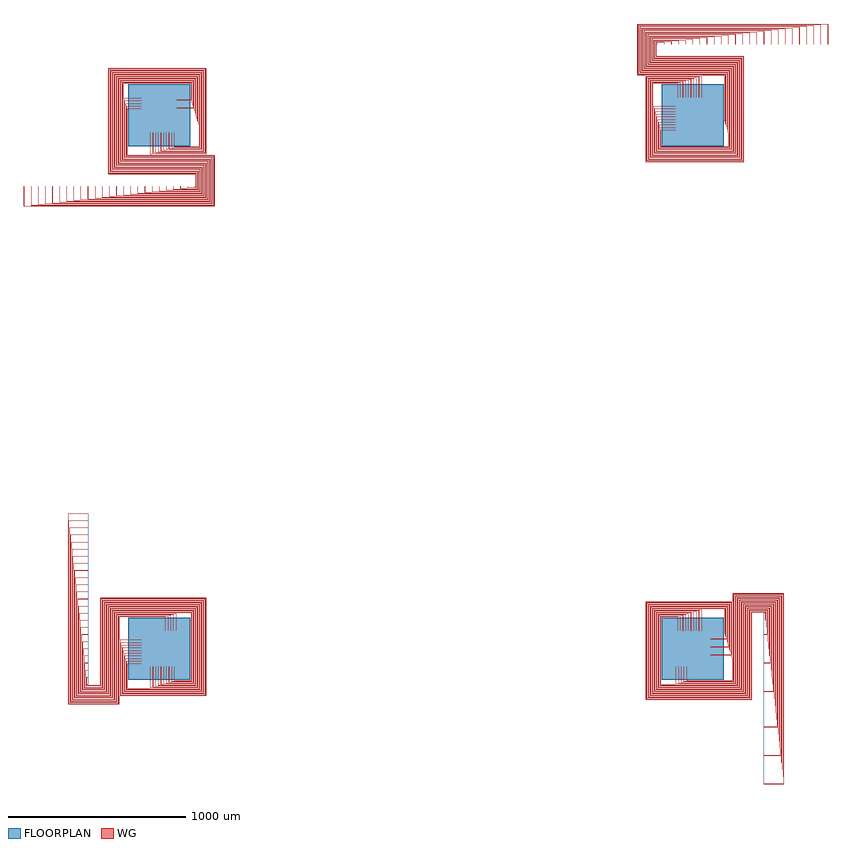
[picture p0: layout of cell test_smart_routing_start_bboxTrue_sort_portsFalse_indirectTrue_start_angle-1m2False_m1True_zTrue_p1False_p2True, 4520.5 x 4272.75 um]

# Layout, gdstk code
import gdstk
lib = gdstk.Library(unit=1e-6, precision=1e-09)
def R(c, l, rs):  # rectangles x0, y0, x1, y1
    for r in rs: c.add(gdstk.rectangle(r[:2], r[2:], *l))
def P(c, l, *ps):  # polygons
    for p in ps: c.add(gdstk.Polygon(p, *l))
WG = (1, 0)
FLOORPLAN = (10, 0)

test_smart_routing_start = lib.new_cell('test_smart_routing_start_bboxTrue_sort_portsFalse_indirectTrue_start_angle-1m2False_m1True_zTrue_p1False_p2True')
P(test_smart_routing_start, WG, [(-220,-265),(-220,50.25),(-100,50.25),(-100,49.75),(-219.5,49.75),(-219.5,-264.5),(264.5,-264.5),(264.5,287),(-332,287),(-332,-204.75),(-404.5,-204.75),(-404.5,-199.75),(-400,-199.75),(-400,-200.25),(-404,-200.25),(-404,-204.25),(-332.5,-204.25),(-332.5,287.5),(265,287.5),(265,-265)],
  [(-215.5,-260.5),(-215.5,35.25),(-100,35.25),(-100,34.75),(-215,34.75),(-215,-260),(260,-260),(260,282.5),(-327.5,282.5),(-327.5,-209.25),(-409,-209.25),(-409,-159.75),(-400,-159.75),(-400,-160.25),(-408.5,-160.25),(-408.5,-208.75),(-328,-208.75),(-328,283),(260.5,283),(260.5,-260.5)],
  [(-211,-256),(-211,20.25),(-100,20.25),(-100,19.75),(-210.5,19.75),(-210.5,-255.5),(255.5,-255.5),(255.5,278),(-323,278),(-323,-213.75),(-413.5,-213.75),(-413.5,-119.75),(-400,-119.75),(-400,-120.25),(-413,-120.25),(-413,-213.25),(-323.5,-213.25),(-323.5,278.5),(256,278.5),(256,-256)],
  [(-206.5,-251.5),(-206.5,5.25),(-100,5.25),(-100,4.75),(-206,4.75),(-206,-251),(251,-251),(251,273.5),(-318.5,273.5),(-318.5,-218.25),(-418,-218.25),(-418,-79.75),(-400,-79.75),(-400,-80.25),(-417.5,-80.25),(-417.5,-217.75),(-319,-217.75),(-319,274),(251.5,274),(251.5,-251.5)],
  [(-202,-247),(-202,-9.75),(-100,-9.75),(-100,-10.25),(-201.5,-10.25),(-201.5,-246.5),(246.5,-246.5),(246.5,269),(-314,269),(-314,-222.75),(-422.5,-222.75),(-422.5,-39.75),(-400,-39.75),(-400,-40.25),(-422,-40.25),(-422,-222.25),(-314.5,-222.25),(-314.5,269.5),(247,269.5),(247,-247)],
  [(-197.5,-242.5),(-197.5,-24.75),(-100,-24.75),(-100,-25.25),(-197,-25.25),(-197,-242),(242,-242),(242,264.5),(-309.5,264.5),(-309.5,-227.25),(-427,-227.25),(-427,0.25),(-400,0.25),(-400,-0.25),(-426.5,-0.25),(-426.5,-226.75),(-310,-226.75),(-310,265),(242.5,265),(242.5,-242.5)],
  [(-193,-238),(-193,-39.75),(-100,-39.75),(-100,-40.25),(-192.5,-40.25),(-192.5,-237.5),(237.5,-237.5),(237.5,260),(-305,260),(-305,-231.75),(-431.5,-231.75),(-431.5,40.25),(-400,40.25),(-400,39.75),(-431,39.75),(-431,-231.25),(-305.5,-231.25),(-305.5,260.5),(238,260.5),(238,-238)],
  [(-436,-236.25),(-436,80.25),(-400,80.25),(-400,79.75),(-435.5,79.75),(-435.5,-235.75),(-301,-235.75),(-301,256),(233.5,256),(233.5,-233.5),(-188.5,-233.5),(-188.5,-54.75),(-100,-54.75),(-100,-55.25),(-188,-55.25),(-188,-233),(233,-233),(233,255.5),(-300.5,255.5),(-300.5,-236.25)],
  [(-440.5,-240.75),(-440.5,120.25),(-400,120.25),(-400,119.75),(-440,119.75),(-440,-240.25),(-296.5,-240.25),(-296.5,251.5),(229,251.5),(229,-229),(-184,-229),(-184,-69.75),(-100,-69.75),(-100,-70.25),(-183.5,-70.25),(-183.5,-228.5),(228.5,-228.5),(228.5,251),(-296,251),(-296,-240.75)],
  [(-445,-245.25),(-445,160.25),(-400,160.25),(-400,159.75),(-444.5,159.75),(-444.5,-244.75),(-292,-244.75),(-292,247),(224.5,247),(224.5,-224.5),(-179.5,-224.5),(-179.5,-84.75),(-100,-84.75),(-100,-85.25),(-179,-85.25),(-179,-224),(224,-224),(224,246.5),(-291.5,246.5),(-291.5,-245.25)],
  [(-449.5,-249.75),(-449.5,200.25),(-400,200.25),(-400,199.75),(-449,199.75),(-449,-249.25),(-287.5,-249.25),(-287.5,242.5),(220,242.5),(220,-220),(-50.25,-220),(-50.25,-100),(-49.75,-100),(-49.75,-219.5),(219.5,-219.5),(219.5,242),(-287,242),(-287,-249.75)],
  [(-454,-254.25),(-454,240.25),(-400,240.25),(-400,239.75),(-453.5,239.75),(-453.5,-253.75),(-283,-253.75),(-283,238),(215.5,238),(215.5,-215.5),(-35.25,-215.5),(-35.25,-100),(-34.75,-100),(-34.75,-215),(215,-215),(215,237.5),(-282.5,237.5),(-282.5,-254.25)],
  [(-458.5,-258.75),(-458.5,280.25),(-400,280.25),(-400,279.75),(-458,279.75),(-458,-258.25),(-278.5,-258.25),(-278.5,233.5),(211,233.5),(211,-211),(-20.25,-211),(-20.25,-100),(-19.75,-100),(-19.75,-210.5),(210.5,-210.5),(210.5,233),(-278,233),(-278,-258.75)],
  [(-463,-263.25),(-463,320.25),(-400,320.25),(-400,319.75),(-462.5,319.75),(-462.5,-262.75),(-274,-262.75),(-274,229),(206.5,229),(206.5,-206.5),(-5.25,-206.5),(-5.25,-100),(-4.75,-100),(-4.75,-206),(206,-206),(206,228.5),(-273.5,228.5),(-273.5,-263.25)],
  [(-467.5,-267.75),(-467.5,360.25),(-400,360.25),(-400,359.75),(-467,359.75),(-467,-267.25),(-269.5,-267.25),(-269.5,224.5),(202,224.5),(202,-202),(9.75,-202),(9.75,-100),(10.25,-100),(10.25,-201.5),(201.5,-201.5),(201.5,224),(-269,224),(-269,-267.75)],
  [(-472,-272.25),(-472,400.25),(-400,400.25),(-400,399.75),(-471.5,399.75),(-471.5,-271.75),(-265,-271.75),(-265,220),(197.5,220),(197.5,-197.5),(24.75,-197.5),(24.75,-100),(25.25,-100),(25.25,-197),(197,-197),(197,219.5),(-264.5,219.5),(-264.5,-272.25)],
  [(-476.5,-276.75),(-476.5,440.25),(-400,440.25),(-400,439.75),(-476,439.75),(-476,-276.25),(-260.5,-276.25),(-260.5,215.5),(193,215.5),(193,-193),(39.75,-193),(39.75,-100),(40.25,-100),(40.25,-192.5),(192.5,-192.5),(192.5,215),(-260,215),(-260,-276.75)],
  [(-481,-281.25),(-481,480.25),(-400,480.25),(-400,479.75),(-480.5,479.75),(-480.5,-280.75),(-256,-280.75),(-256,211),(188.5,211),(188.5,-188.5),(54.75,-188.5),(54.75,-100),(55.25,-100),(55.25,-188),(188,-188),(188,210.5),(-255.5,210.5),(-255.5,-281.25)],
  [(-485.5,-285.75),(-485.5,520.25),(-400,520.25),(-400,519.75),(-485,519.75),(-485,-285.25),(-251.5,-285.25),(-251.5,206.5),(184,206.5),(184,-184),(69.75,-184),(69.75,-100),(70.25,-100),(70.25,-183.5),(183.5,-183.5),(183.5,206),(-251,206),(-251,-285.75)],
  [(-490,-290.25),(-490,560.25),(-400,560.25),(-400,559.75),(-489.5,559.75),(-489.5,-289.75),(-247,-289.75),(-247,202),(179.5,202),(179.5,-179.5),(84.75,-179.5),(84.75,-100),(85.25,-100),(85.25,-179),(179,-179),(179,201.5),(-246.5,201.5),(-246.5,-290.25)],
  [(-512.5,-312.75),(-512.5,760.25),(-400,760.25),(-400,759.75),(-512,759.75),(-512,-312.25),(-224.5,-312.25),(-224.5,179.5),(35.25,179.5),(35.25,100),(34.75,100),(34.75,179),(-224,179),(-224,-312.75)],
  [(-508,-308.25),(-508,720.25),(-400,720.25),(-400,719.75),(-507.5,719.75),(-507.5,-307.75),(-229,-307.75),(-229,184),(50.25,184),(50.25,100),(49.75,100),(49.75,183.5),(-228.5,183.5),(-228.5,-308.25)],
  [(-503.5,-303.75),(-503.5,680.25),(-400,680.25),(-400,679.75),(-503,679.75),(-503,-303.25),(-233.5,-303.25),(-233.5,188.5),(65.25,188.5),(65.25,100),(64.75,100),(64.75,188),(-233,188),(-233,-303.75)],
  [(-499,-299.25),(-499,640.25),(-400,640.25),(-400,639.75),(-498.5,639.75),(-498.5,-298.75),(-238,-298.75),(-238,193),(80.25,193),(80.25,100),(79.75,100),(79.75,192.5),(-237.5,192.5),(-237.5,-299.25)],
  [(-494.5,-294.75),(-494.5,600.25),(-400,600.25),(-400,599.75),(-494,599.75),(-494,-294.25),(-242.5,-294.25),(-242.5,197.5),(95.25,197.5),(95.25,100),(94.75,100),(94.75,197),(-242,197),(-242,-294.75)],
  [(199.75,2595.5),(199.75,2600),(200.25,2600),(200.25,2596),(204.25,2596),(204.25,2667.5),(-287.5,2667.5),(-287.5,3265),(265,3265),(265,2780),(-50.25,2780),(-50.25,2900),(-49.75,2900),(-49.75,2780.5),(264.5,2780.5),(264.5,3264.5),(-287,3264.5),(-287,2668),(204.75,2668),(204.75,2595.5)],
  [(159.75,2591),(159.75,2600),(160.25,2600),(160.25,2591.5),(208.75,2591.5),(208.75,2672),(-283,2672),(-283,3260.5),(260.5,3260.5),(260.5,2784.5),(-35.25,2784.5),(-35.25,2900),(-34.75,2900),(-34.75,2785),(260,2785),(260,3260),(-282.5,3260),(-282.5,2672.5),(209.25,2672.5),(209.25,2591)],
  [(119.75,2586.5),(119.75,2600),(120.25,2600),(120.25,2587),(213.25,2587),(213.25,2676.5),(-278.5,2676.5),(-278.5,3256),(256,3256),(256,2789),(-20.25,2789),(-20.25,2900),(-19.75,2900),(-19.75,2789.5),(255.5,2789.5),(255.5,3255.5),(-278,3255.5),(-278,2677),(213.75,2677),(213.75,2586.5)],
  [(79.75,2582),(79.75,2600),(80.25,2600),(80.25,2582.5),(217.75,2582.5),(217.75,2681),(-274,2681),(-274,3251.5),(251.5,3251.5),(251.5,2793.5),(-5.25,2793.5),(-5.25,2900),(-4.75,2900),(-4.75,2794),(251,2794),(251,3251),(-273.5,3251),(-273.5,2681.5),(218.25,2681.5),(218.25,2582)],
  [(39.75,2577.5),(39.75,2600),(40.25,2600),(40.25,2578),(222.25,2578),(222.25,2685.5),(-269.5,2685.5),(-269.5,3247),(247,3247),(247,2798),(9.75,2798),(9.75,2900),(10.25,2900),(10.25,2798.5),(246.5,2798.5),(246.5,3246.5),(-269,3246.5),(-269,2686),(222.75,2686),(222.75,2577.5)],
  [(-0.25,2573),(-0.25,2600),(0.25,2600),(0.25,2573.5),(226.75,2573.5),(226.75,2690),(-265,2690),(-265,3242.5),(242.5,3242.5),(242.5,2802.5),(24.75,2802.5),(24.75,2900),(25.25,2900),(25.25,2803),(242,2803),(242,3242),(-264.5,3242),(-264.5,2690.5),(227.25,2690.5),(227.25,2573)],
  [(-40.25,2568.5),(-40.25,2600),(-39.75,2600),(-39.75,2569),(231.25,2569),(231.25,2694.5),(-260.5,2694.5),(-260.5,3238),(238,3238),(238,2807),(39.75,2807),(39.75,2900),(40.25,2900),(40.25,2807.5),(237.5,2807.5),(237.5,3237.5),(-260,3237.5),(-260,2695),(231.75,2695),(231.75,2568.5)],
  [(-80.25,2564),(-80.25,2600),(-79.75,2600),(-79.75,2564.5),(235.75,2564.5),(235.75,2699),(-256,2699),(-256,3233.5),(233.5,3233.5),(233.5,2811.5),(54.75,2811.5),(54.75,2900),(55.25,2900),(55.25,2812),(233,2812),(233,3233),(-255.5,3233),(-255.5,2699.5),(236.25,2699.5),(236.25,2564)],
  [(-120.25,2559.5),(-120.25,2600),(-119.75,2600),(-119.75,2560),(240.25,2560),(240.25,2703.5),(-251.5,2703.5),(-251.5,3229),(229,3229),(229,2816),(69.75,2816),(69.75,2900),(70.25,2900),(70.25,2816.5),(228.5,2816.5),(228.5,3228.5),(-251,3228.5),(-251,2704),(240.75,2704),(240.75,2559.5)],
  [(-160.25,2555),(-160.25,2600),(-159.75,2600),(-159.75,2555.5),(244.75,2555.5),(244.75,2708),(-247,2708),(-247,3224.5),(224.5,3224.5),(224.5,2820.5),(84.75,2820.5),(84.75,2900),(85.25,2900),(85.25,2821),(224,2821),(224,3224),(-246.5,3224),(-246.5,2708.5),(245.25,2708.5),(245.25,2555)],
  [(-200.25,2550.5),(-200.25,2600),(-199.75,2600),(-199.75,2551),(249.25,2551),(249.25,2712.5),(-242.5,2712.5),(-242.5,3220),(220,3220),(220,2949.75),(100,2949.75),(100,2950.25),(219.5,2950.25),(219.5,3219.5),(-242,3219.5),(-242,2713),(249.75,2713),(249.75,2550.5)],
  [(-240.25,2546),(-240.25,2600),(-239.75,2600),(-239.75,2546.5),(253.75,2546.5),(253.75,2717),(-238,2717),(-238,3215.5),(215.5,3215.5),(215.5,2964.75),(100,2964.75),(100,2965.25),(215,2965.25),(215,3215),(-237.5,3215),(-237.5,2717.5),(254.25,2717.5),(254.25,2546)],
  [(-280.25,2541.5),(-280.25,2600),(-279.75,2600),(-279.75,2542),(258.25,2542),(258.25,2721.5),(-233.5,2721.5),(-233.5,3211),(211,3211),(211,2979.75),(100,2979.75),(100,2980.25),(210.5,2980.25),(210.5,3210.5),(-233,3210.5),(-233,2722),(258.75,2722),(258.75,2541.5)],
  [(-320.25,2537),(-320.25,2600),(-319.75,2600),(-319.75,2537.5),(262.75,2537.5),(262.75,2726),(-229,2726),(-229,3206.5),(206.5,3206.5),(206.5,2994.75),(100,2994.75),(100,2995.25),(206,2995.25),(206,3206),(-228.5,3206),(-228.5,2726.5),(263.25,2726.5),(263.25,2537)],
  [(-360.25,2532.5),(-360.25,2600),(-359.75,2600),(-359.75,2533),(267.25,2533),(267.25,2730.5),(-224.5,2730.5),(-224.5,3202),(202,3202),(202,3009.75),(100,3009.75),(100,3010.25),(201.5,3010.25),(201.5,3201.5),(-224,3201.5),(-224,2731),(267.75,2731),(267.75,2532.5)],
  [(-400.25,2528),(-400.25,2600),(-399.75,2600),(-399.75,2528.5),(271.75,2528.5),(271.75,2735),(-220,2735),(-220,3197.5),(197.5,3197.5),(197.5,3024.75),(100,3024.75),(100,3025.25),(197,3025.25),(197,3197),(-219.5,3197),(-219.5,2735.5),(272.25,2735.5),(272.25,2528)],
  [(-440.25,2523.5),(-440.25,2600),(-439.75,2600),(-439.75,2524),(276.25,2524),(276.25,2739.5),(-215.5,2739.5),(-215.5,3193),(193,3193),(193,3039.75),(100,3039.75),(100,3040.25),(192.5,3040.25),(192.5,3192.5),(-215,3192.5),(-215,2740),(276.75,2740),(276.75,2523.5)],
  [(-480.25,2519),(-480.25,2600),(-479.75,2600),(-479.75,2519.5),(280.75,2519.5),(280.75,2744),(-211,2744),(-211,3188.5),(188.5,3188.5),(188.5,3054.75),(100,3054.75),(100,3055.25),(188,3055.25),(188,3188),(-210.5,3188),(-210.5,2744.5),(281.25,2744.5),(281.25,2519)],
  [(-520.25,2514.5),(-520.25,2600),(-519.75,2600),(-519.75,2515),(285.25,2515),(285.25,2748.5),(-206.5,2748.5),(-206.5,3184),(184,3184),(184,3069.75),(100,3069.75),(100,3070.25),(183.5,3070.25),(183.5,3183.5),(-206,3183.5),(-206,2749),(285.75,2749),(285.75,2514.5)],
  [(-560.25,2510),(-560.25,2600),(-559.75,2600),(-559.75,2510.5),(289.75,2510.5),(289.75,2753),(-202,2753),(-202,3179.5),(179.5,3179.5),(179.5,3084.75),(100,3084.75),(100,3085.25),(179,3085.25),(179,3179),(-201.5,3179),(-201.5,2753.5),(290.25,2753.5),(290.25,2510)],
  [(-760.25,2487.5),(-760.25,2600),(-759.75,2600),(-759.75,2488),(312.25,2488),(312.25,2775.5),(-179.5,2775.5),(-179.5,3035.25),(-100,3035.25),(-100,3034.75),(-179,3034.75),(-179,2776),(312.75,2776),(312.75,2487.5)],
  [(-720.25,2492),(-720.25,2600),(-719.75,2600),(-719.75,2492.5),(307.75,2492.5),(307.75,2771),(-184,2771),(-184,3050.25),(-100,3050.25),(-100,3049.75),(-183.5,3049.75),(-183.5,2771.5),(308.25,2771.5),(308.25,2492)],
  [(-680.25,2496.5),(-680.25,2600),(-679.75,2600),(-679.75,2497),(303.25,2497),(303.25,2766.5),(-188.5,2766.5),(-188.5,3065.25),(-100,3065.25),(-100,3064.75),(-188,3064.75),(-188,2767),(303.75,2767),(303.75,2496.5)],
  [(-640.25,2501),(-640.25,2600),(-639.75,2600),(-639.75,2501.5),(298.75,2501.5),(298.75,2762),(-193,2762),(-193,3080.25),(-100,3080.25),(-100,3079.75),(-192.5,3079.75),(-192.5,2762.5),(299.25,2762.5),(299.25,2501)],
  [(-600.25,2505.5),(-600.25,2600),(-599.75,2600),(-599.75,2506),(294.25,2506),(294.25,2757.5),(-197.5,2757.5),(-197.5,3095.25),(-100,3095.25),(-100,3094.75),(-197,3094.75),(-197,2758),(294.75,2758),(294.75,2505.5)],
  [(2735,-287.5),(2735,265),(3220,265),(3220,-50.25),(3100,-50.25),(3100,-49.75),(3219.5,-49.75),(3219.5,264.5),(2735.5,264.5),(2735.5,-287),(3332,-287),(3332,204.75),(3404.5,204.75),(3404.5,199.75),(3400,199.75),(3400,200.25),(3404,200.25),(3404,204.25),(3332.5,204.25),(3332.5,-287.5)],
  [(2739.5,-283),(2739.5,260.5),(3215.5,260.5),(3215.5,-35.25),(3100,-35.25),(3100,-34.75),(3215,-34.75),(3215,260),(2740,260),(2740,-282.5),(3327.5,-282.5),(3327.5,209.25),(3409,209.25),(3409,159.75),(3400,159.75),(3400,160.25),(3408.5,160.25),(3408.5,208.75),(3328,208.75),(3328,-283)],
  [(2744,-278.5),(2744,256),(3211,256),(3211,-20.25),(3100,-20.25),(3100,-19.75),(3210.5,-19.75),(3210.5,255.5),(2744.5,255.5),(2744.5,-278),(3323,-278),(3323,213.75),(3413.5,213.75),(3413.5,119.75),(3400,119.75),(3400,120.25),(3413,120.25),(3413,213.25),(3323.5,213.25),(3323.5,-278.5)],
  [(2748.5,-274),(2748.5,251.5),(3206.5,251.5),(3206.5,-5.25),(3100,-5.25),(3100,-4.75),(3206,-4.75),(3206,251),(2749,251),(2749,-273.5),(3318.5,-273.5),(3318.5,218.25),(3418,218.25),(3418,79.75),(3400,79.75),(3400,80.25),(3417.5,80.25),(3417.5,217.75),(3319,217.75),(3319,-274)],
  [(2753,-269.5),(2753,247),(3202,247),(3202,9.75),(3100,9.75),(3100,10.25),(3201.5,10.25),(3201.5,246.5),(2753.5,246.5),(2753.5,-269),(3314,-269),(3314,222.75),(3422.5,222.75),(3422.5,39.75),(3400,39.75),(3400,40.25),(3422,40.25),(3422,222.25),(3314.5,222.25),(3314.5,-269.5)],
  [(2757.5,-265),(2757.5,242.5),(3197.5,242.5),(3197.5,24.75),(3100,24.75),(3100,25.25),(3197,25.25),(3197,242),(2758,242),(2758,-264.5),(3309.5,-264.5),(3309.5,227.25),(3427,227.25),(3427,-0.25),(3400,-0.25),(3400,0.25),(3426.5,0.25),(3426.5,226.75),(3310,226.75),(3310,-265)],
  [(2762,-260.5),(2762,238),(3193,238),(3193,39.75),(3100,39.75),(3100,40.25),(3192.5,40.25),(3192.5,237.5),(2762.5,237.5),(2762.5,-260),(3305,-260),(3305,231.75),(3431.5,231.75),(3431.5,-40.25),(3400,-40.25),(3400,-39.75),(3431,-39.75),(3431,231.25),(3305.5,231.25),(3305.5,-260.5)],
  [(2766.5,-256),(2766.5,233.5),(3188.5,233.5),(3188.5,54.75),(3100,54.75),(3100,55.25),(3188,55.25),(3188,233),(2767,233),(2767,-255.5),(3300.5,-255.5),(3300.5,236.25),(3436,236.25),(3436,-80.25),(3400,-80.25),(3400,-79.75),(3435.5,-79.75),(3435.5,235.75),(3301,235.75),(3301,-256)],
  [(2771,-251.5),(2771,229),(3184,229),(3184,69.75),(3100,69.75),(3100,70.25),(3183.5,70.25),(3183.5,228.5),(2771.5,228.5),(2771.5,-251),(3296,-251),(3296,240.75),(3440.5,240.75),(3440.5,-120.25),(3400,-120.25),(3400,-119.75),(3440,-119.75),(3440,240.25),(3296.5,240.25),(3296.5,-251.5)],
  [(2775.5,-247),(2775.5,224.5),(3179.5,224.5),(3179.5,84.75),(3100,84.75),(3100,85.25),(3179,85.25),(3179,224),(2776,224),(2776,-246.5),(3291.5,-246.5),(3291.5,245.25),(3445,245.25),(3445,-160.25),(3400,-160.25),(3400,-159.75),(3444.5,-159.75),(3444.5,244.75),(3292,244.75),(3292,-247)],
  [(2780,-242.5),(2780,220),(3050.25,220),(3050.25,100),(3049.75,100),(3049.75,219.5),(2780.5,219.5),(2780.5,-242),(3287,-242),(3287,249.75),(3449.5,249.75),(3449.5,-200.25),(3400,-200.25),(3400,-199.75),(3449,-199.75),(3449,249.25),(3287.5,249.25),(3287.5,-242.5)],
  [(3400,-240.25),(3400,-239.75),(3453.5,-239.75),(3453.5,253.75),(3283,253.75),(3283,-238),(2784.5,-238),(2784.5,215.5),(3035.25,215.5),(3035.25,100),(3034.75,100),(3034.75,215),(2785,215),(2785,-237.5),(3282.5,-237.5),(3282.5,254.25),(3454,254.25),(3454,-240.25)],
  [(3400,-280.25),(3400,-279.75),(3458,-279.75),(3458,258.25),(3278.5,258.25),(3278.5,-233.5),(2789,-233.5),(2789,211),(3020.25,211),(3020.25,100),(3019.75,100),(3019.75,210.5),(2789.5,210.5),(2789.5,-233),(3278,-233),(3278,258.75),(3458.5,258.75),(3458.5,-280.25)],
  [(3400,-320.25),(3400,-319.75),(3462.5,-319.75),(3462.5,262.75),(3274,262.75),(3274,-229),(2793.5,-229),(2793.5,206.5),(3005.25,206.5),(3005.25,100),(3004.75,100),(3004.75,206),(2794,206),(2794,-228.5),(3273.5,-228.5),(3273.5,263.25),(3463,263.25),(3463,-320.25)],
  [(3400,-360.25),(3400,-359.75),(3467,-359.75),(3467,267.25),(3269.5,267.25),(3269.5,-224.5),(2798,-224.5),(2798,202),(2990.25,202),(2990.25,100),(2989.75,100),(2989.75,201.5),(2798.5,201.5),(2798.5,-224),(3269,-224),(3269,267.75),(3467.5,267.75),(3467.5,-360.25)],
  [(3400,-400.25),(3400,-399.75),(3471.5,-399.75),(3471.5,271.75),(3265,271.75),(3265,-220),(2802.5,-220),(2802.5,197.5),(2975.25,197.5),(2975.25,100),(2974.75,100),(2974.75,197),(2803,197),(2803,-219.5),(3264.5,-219.5),(3264.5,272.25),(3472,272.25),(3472,-400.25)],
  [(3400,-440.25),(3400,-439.75),(3476,-439.75),(3476,276.25),(3260.5,276.25),(3260.5,-215.5),(2807,-215.5),(2807,193),(2960.25,193),(2960.25,100),(2959.75,100),(2959.75,192.5),(2807.5,192.5),(2807.5,-215),(3260,-215),(3260,276.75),(3476.5,276.75),(3476.5,-440.25)],
  [(3400,-480.25),(3400,-479.75),(3480.5,-479.75),(3480.5,280.75),(3256,280.75),(3256,-211),(2811.5,-211),(2811.5,188.5),(2945.25,188.5),(2945.25,100),(2944.75,100),(2944.75,188),(2812,188),(2812,-210.5),(3255.5,-210.5),(3255.5,281.25),(3481,281.25),(3481,-480.25)],
  [(3400,-520.25),(3400,-519.75),(3485,-519.75),(3485,285.25),(3251.5,285.25),(3251.5,-206.5),(2816,-206.5),(2816,184),(2930.25,184),(2930.25,100),(2929.75,100),(2929.75,183.5),(2816.5,183.5),(2816.5,-206),(3251,-206),(3251,285.75),(3485.5,285.75),(3485.5,-520.25)],
  [(3400,-560.25),(3400,-559.75),(3489.5,-559.75),(3489.5,289.75),(3247,289.75),(3247,-202),(2820.5,-202),(2820.5,179.5),(2915.25,179.5),(2915.25,100),(2914.75,100),(2914.75,179),(2821,179),(2821,-201.5),(3246.5,-201.5),(3246.5,290.25),(3490,290.25),(3490,-560.25)],
  [(3400,-760.25),(3400,-759.75),(3512,-759.75),(3512,312.25),(3224.5,312.25),(3224.5,-179.5),(2964.75,-179.5),(2964.75,-100),(2965.25,-100),(2965.25,-179),(3224,-179),(3224,312.75),(3512.5,312.75),(3512.5,-760.25)],
  [(3400,-720.25),(3400,-719.75),(3507.5,-719.75),(3507.5,307.75),(3229,307.75),(3229,-184),(2949.75,-184),(2949.75,-100),(2950.25,-100),(2950.25,-183.5),(3228.5,-183.5),(3228.5,308.25),(3508,308.25),(3508,-720.25)],
  [(3400,-680.25),(3400,-679.75),(3503,-679.75),(3503,303.25),(3233.5,303.25),(3233.5,-188.5),(2934.75,-188.5),(2934.75,-100),(2935.25,-100),(2935.25,-188),(3233,-188),(3233,303.75),(3503.5,303.75),(3503.5,-680.25)],
  [(3400,-640.25),(3400,-639.75),(3498.5,-639.75),(3498.5,298.75),(3238,298.75),(3238,-193),(2919.75,-193),(2919.75,-100),(2920.25,-100),(2920.25,-192.5),(3237.5,-192.5),(3237.5,299.25),(3499,299.25),(3499,-640.25)],
  [(3400,-600.25),(3400,-599.75),(3494,-599.75),(3494,294.25),(3242.5,294.25),(3242.5,-197.5),(2904.75,-197.5),(2904.75,-100),(2905.25,-100),(2905.25,-197),(3242,-197),(3242,294.75),(3494.5,294.75),(3494.5,-600.25)],
  [(2735,2735),(2735,3220),(3050.25,3220),(3050.25,3100),(3049.75,3100),(3049.75,3219.5),(2735.5,3219.5),(2735.5,2735.5),(3287,2735.5),(3287,3332),(2795.25,3332),(2795.25,3404.5),(2800.25,3404.5),(2800.25,3400),(2799.75,3400),(2799.75,3404),(2795.75,3404),(2795.75,3332.5),(3287.5,3332.5),(3287.5,2735)],
  [(2739.5,2739.5),(2739.5,3215.5),(3035.25,3215.5),(3035.25,3100),(3034.75,3100),(3034.75,3215),(2740,3215),(2740,2740),(3282.5,2740),(3282.5,3327.5),(2790.75,3327.5),(2790.75,3409),(2840.25,3409),(2840.25,3400),(2839.75,3400),(2839.75,3408.5),(2791.25,3408.5),(2791.25,3328),(3283,3328),(3283,2739.5)],
  [(2744,2744),(2744,3211),(3020.25,3211),(3020.25,3100),(3019.75,3100),(3019.75,3210.5),(2744.5,3210.5),(2744.5,2744.5),(3278,2744.5),(3278,3323),(2786.25,3323),(2786.25,3413.5),(2880.25,3413.5),(2880.25,3400),(2879.75,3400),(2879.75,3413),(2786.75,3413),(2786.75,3323.5),(3278.5,3323.5),(3278.5,2744)],
  [(2748.5,2748.5),(2748.5,3206.5),(3005.25,3206.5),(3005.25,3100),(3004.75,3100),(3004.75,3206),(2749,3206),(2749,2749),(3273.5,2749),(3273.5,3318.5),(2781.75,3318.5),(2781.75,3418),(2920.25,3418),(2920.25,3400),(2919.75,3400),(2919.75,3417.5),(2782.25,3417.5),(2782.25,3319),(3274,3319),(3274,2748.5)],
  [(2753,2753),(2753,3202),(2990.25,3202),(2990.25,3100),(2989.75,3100),(2989.75,3201.5),(2753.5,3201.5),(2753.5,2753.5),(3269,2753.5),(3269,3314),(2777.25,3314),(2777.25,3422.5),(2960.25,3422.5),(2960.25,3400),(2959.75,3400),(2959.75,3422),(2777.75,3422),(2777.75,3314.5),(3269.5,3314.5),(3269.5,2753)],
  [(2757.5,2757.5),(2757.5,3197.5),(2975.25,3197.5),(2975.25,3100),(2974.75,3100),(2974.75,3197),(2758,3197),(2758,2758),(3264.5,2758),(3264.5,3309.5),(2772.75,3309.5),(2772.75,3427),(3000.25,3427),(3000.25,3400),(2999.75,3400),(2999.75,3426.5),(2773.25,3426.5),(2773.25,3310),(3265,3310),(3265,2757.5)],
  [(2762,2762),(2762,3193),(2960.25,3193),(2960.25,3100),(2959.75,3100),(2959.75,3192.5),(2762.5,3192.5),(2762.5,2762.5),(3260,2762.5),(3260,3305),(2768.25,3305),(2768.25,3431.5),(3040.25,3431.5),(3040.25,3400),(3039.75,3400),(3039.75,3431),(2768.75,3431),(2768.75,3305.5),(3260.5,3305.5),(3260.5,2762)],
  [(2766.5,2766.5),(2766.5,3188.5),(2945.25,3188.5),(2945.25,3100),(2944.75,3100),(2944.75,3188),(2767,3188),(2767,2767),(3255.5,2767),(3255.5,3300.5),(2763.75,3300.5),(2763.75,3436),(3080.25,3436),(3080.25,3400),(3079.75,3400),(3079.75,3435.5),(2764.25,3435.5),(2764.25,3301),(3256,3301),(3256,2766.5)],
  [(2771,2771),(2771,3184),(2930.25,3184),(2930.25,3100),(2929.75,3100),(2929.75,3183.5),(2771.5,3183.5),(2771.5,2771.5),(3251,2771.5),(3251,3296),(2759.25,3296),(2759.25,3440.5),(3120.25,3440.5),(3120.25,3400),(3119.75,3400),(3119.75,3440),(2759.75,3440),(2759.75,3296.5),(3251.5,3296.5),(3251.5,2771)],
  [(2775.5,2775.5),(2775.5,3179.5),(2915.25,3179.5),(2915.25,3100),(2914.75,3100),(2914.75,3179),(2776,3179),(2776,2776),(3246.5,2776),(3246.5,3291.5),(2754.75,3291.5),(2754.75,3445),(3160.25,3445),(3160.25,3400),(3159.75,3400),(3159.75,3444.5),(2755.25,3444.5),(2755.25,3292),(3247,3292),(3247,2775.5)],
  [(2780,2780),(2780,3050.25),(2900,3050.25),(2900,3049.75),(2780.5,3049.75),(2780.5,2780.5),(3242,2780.5),(3242,3287),(2750.25,3287),(2750.25,3449.5),(3200.25,3449.5),(3200.25,3400),(3199.75,3400),(3199.75,3449),(2750.75,3449),(2750.75,3287.5),(3242.5,3287.5),(3242.5,2780)],
  [(2784.5,2784.5),(2784.5,3035.25),(2900,3035.25),(2900,3034.75),(2785,3034.75),(2785,2785),(3237.5,2785),(3237.5,3282.5),(2745.75,3282.5),(2745.75,3454),(3240.25,3454),(3240.25,3400),(3239.75,3400),(3239.75,3453.5),(2746.25,3453.5),(2746.25,3283),(3238,3283),(3238,2784.5)],
  [(2789,2789),(2789,3020.25),(2900,3020.25),(2900,3019.75),(2789.5,3019.75),(2789.5,2789.5),(3233,2789.5),(3233,3278),(2741.25,3278),(2741.25,3458.5),(3280.25,3458.5),(3280.25,3400),(3279.75,3400),(3279.75,3458),(2741.75,3458),(2741.75,3278.5),(3233.5,3278.5),(3233.5,2789)],
  [(2793.5,2793.5),(2793.5,3005.25),(2900,3005.25),(2900,3004.75),(2794,3004.75),(2794,2794),(3228.5,2794),(3228.5,3273.5),(2736.75,3273.5),(2736.75,3463),(3320.25,3463),(3320.25,3400),(3319.75,3400),(3319.75,3462.5),(2737.25,3462.5),(2737.25,3274),(3229,3274),(3229,2793.5)],
  [(2798,2798),(2798,2990.25),(2900,2990.25),(2900,2989.75),(2798.5,2989.75),(2798.5,2798.5),(3224,2798.5),(3224,3269),(2732.25,3269),(2732.25,3467.5),(3360.25,3467.5),(3360.25,3400),(3359.75,3400),(3359.75,3467),(2732.75,3467),(2732.75,3269.5),(3224.5,3269.5),(3224.5,2798)],
  [(2802.5,2802.5),(2802.5,2975.25),(2900,2975.25),(2900,2974.75),(2803,2974.75),(2803,2803),(3219.5,2803),(3219.5,3264.5),(2727.75,3264.5),(2727.75,3472),(3400.25,3472),(3400.25,3400),(3399.75,3400),(3399.75,3471.5),(2728.25,3471.5),(2728.25,3265),(3220,3265),(3220,2802.5)],
  [(2807,2807),(2807,2960.25),(2900,2960.25),(2900,2959.75),(2807.5,2959.75),(2807.5,2807.5),(3215,2807.5),(3215,3260),(2723.25,3260),(2723.25,3476.5),(3440.25,3476.5),(3440.25,3400),(3439.75,3400),(3439.75,3476),(2723.75,3476),(2723.75,3260.5),(3215.5,3260.5),(3215.5,2807)],
  [(2811.5,2811.5),(2811.5,2945.25),(2900,2945.25),(2900,2944.75),(2812,2944.75),(2812,2812),(3210.5,2812),(3210.5,3255.5),(2718.75,3255.5),(2718.75,3481),(3480.25,3481),(3480.25,3400),(3479.75,3400),(3479.75,3480.5),(2719.25,3480.5),(2719.25,3256),(3211,3256),(3211,2811.5)],
  [(2816,2816),(2816,2930.25),(2900,2930.25),(2900,2929.75),(2816.5,2929.75),(2816.5,2816.5),(3206,2816.5),(3206,3251),(2714.25,3251),(2714.25,3485.5),(3520.25,3485.5),(3520.25,3400),(3519.75,3400),(3519.75,3485),(2714.75,3485),(2714.75,3251.5),(3206.5,3251.5),(3206.5,2816)],
  [(2820.5,2820.5),(2820.5,2915.25),(2900,2915.25),(2900,2914.75),(2821,2914.75),(2821,2821),(3201.5,2821),(3201.5,3246.5),(2709.75,3246.5),(2709.75,3490),(3560.25,3490),(3560.25,3400),(3559.75,3400),(3559.75,3489.5),(2710.25,3489.5),(2710.25,3247),(3202,3247),(3202,2820.5)],
  [(3100,2964.75),(3100,2965.25),(3179,2965.25),(3179,3224),(2687.25,3224),(2687.25,3512.5),(3760.25,3512.5),(3760.25,3400),(3759.75,3400),(3759.75,3512),(2687.75,3512),(2687.75,3224.5),(3179.5,3224.5),(3179.5,2964.75)],
  [(3100,2949.75),(3100,2950.25),(3183.5,2950.25),(3183.5,3228.5),(2691.75,3228.5),(2691.75,3508),(3720.25,3508),(3720.25,3400),(3719.75,3400),(3719.75,3507.5),(2692.25,3507.5),(2692.25,3229),(3184,3229),(3184,2949.75)],
  [(3100,2934.75),(3100,2935.25),(3188,2935.25),(3188,3233),(2696.25,3233),(2696.25,3503.5),(3680.25,3503.5),(3680.25,3400),(3679.75,3400),(3679.75,3503),(2696.75,3503),(2696.75,3233.5),(3188.5,3233.5),(3188.5,2934.75)],
  [(3100,2919.75),(3100,2920.25),(3192.5,2920.25),(3192.5,3237.5),(2700.75,3237.5),(2700.75,3499),(3640.25,3499),(3640.25,3400),(3639.75,3400),(3639.75,3498.5),(2701.25,3498.5),(2701.25,3238),(3193,3238),(3193,2919.75)],
  [(3100,2904.75),(3100,2905.25),(3197,2905.25),(3197,3242),(2705.25,3242),(2705.25,3494.5),(3600.25,3494.5),(3600.25,3400),(3599.75,3400),(3599.75,3494),(2705.75,3494),(2705.75,3242.5),(3197.5,3242.5),(3197.5,2904.75)])
R(test_smart_routing_start, FLOORPLAN, [(-175,-175,175,175), (2825,-175,3175,175), (-175,2825,175,3175), (2825,2825,3175,3175)])
P(test_smart_routing_start, FLOORPLAN, [(-400,-200),(-400,760),(-400,760),(-400,-200)],
  [(-760,2600),(-760,2600),(200,2600),(200,2600)],
  [(3400,-760),(3400,200),(3400,200),(3400,-760)],
  [(2800,3400),(2800,3400),(3760,3400),(3760,3400)])

lib.write_gds('test_smart_routing_start_bboxTrue_sort_portsFalse_indirectTrue_start_angle-1m2False_m1True_zTrue_p1False_p2True.gds')
